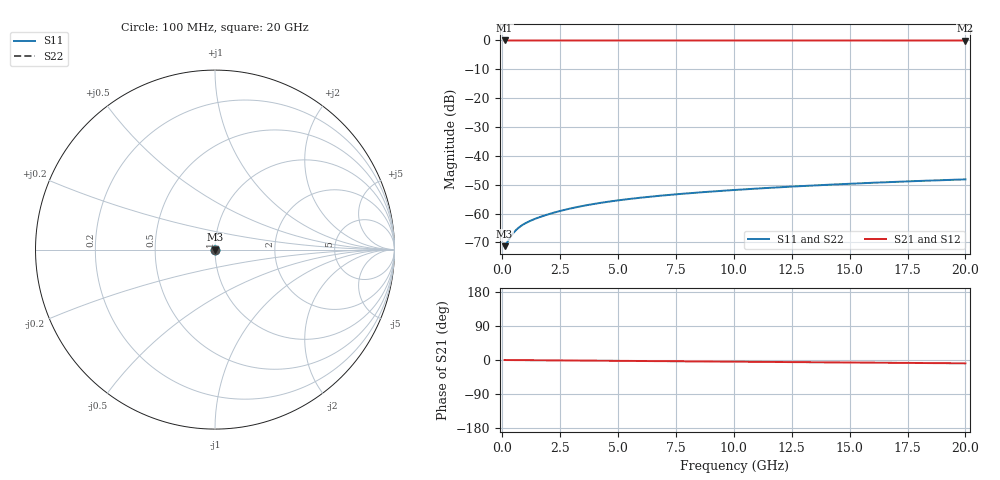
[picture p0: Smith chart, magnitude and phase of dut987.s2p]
! Touchstone file exported from HFSS 2026.1.0
!  File:  C:/ffzhzh/LocalFiles/Ansys_Project_Files/temp_train_TSV_987_1783188102_51560.aedt
!  Generated:  02:03:22 AM Jul  5, 2026
!  Design:  TSV
!  Project:  temp_train_TSV_987_1783188102_51560
! Variables:
!  h_bsmrdl = 2um
!  h_ox = 20um
!  h_rdl = 5um
!  h_sub = 93.37um
!  h_tmrdl = 5um
!  h_tsv = 93.37um
!  h_via = 3um
!  l_bsmrdl = 300um
!  l_sub = 413.92um
!  l_tmrdl = 200um
!  m_sub = 200um
!  pitch = 29.36um
!  r_tsv = 6.96um
!  s_tmrdl = 10um
!  w_bsmrdl = 18um
!  w_sub = 500um
!  w_tmrdl = 12um
!  x_tsv_center1 = 206um
!  x_tsv_center2 = 524um
!  x_tsv_center3 = 736um
!  x_tsv_center4 = 1054um
!  x_tsv_center5 = 1266um
!  x_tsv_center6 = 1584um
# GHz S MA R 50.000000
! Terminal data exported
! Port[1] = TSV1_1_T1
! Port[2] = TSV1_1_T2
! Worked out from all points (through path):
!   200 points, 100 MHz to 20 GHz, reference 50 ohm
!   highest |S21| = 0.00 dB at 100 MHz (marker M1); lowest = 0.0 dB at 20 GHz (marker M2)
!   group delay of S21, straight-line fit = 1.22 ps
!   lowest |S11| = -71.3 dB at 100 MHz (marker M3), VSWR 1.00, Z = 50 + j0.00735 ohm
!   |S11| at or under -10 dB: start of sweep to end of sweep
!   |S22| runs from -71.3 to -48.1 dB; largest |S21 - S12| = 3e-15
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0.1  0.0002723 15.7  0.9997 -0.0  0.9997 -0.0  0.0002723 15.7
! Gamma 0 0 0 0
! Port Impedance 50 0 50 0
0.2  0.0003127 27.2  0.9997 -0.1  0.9997 -0.1  0.0003127 27.2
0.4  0.00042 38.4  0.9997 -0.2  0.9997 -0.2  0.00042 38.4
0.5  0.0004728 40.7  0.9996 -0.2  0.9996 -0.2  0.0004728 40.7
0.6  0.0005217 42.0  0.9996 -0.3  0.9996 -0.3  0.0005216 42.0
0.7  0.0005663 42.9  0.9996 -0.3  0.9996 -0.3  0.0005663 42.9
0.8  0.0006072 43.5  0.9996 -0.4  0.9996 -0.4  0.0006072 43.5
0.9  0.0006449 44.0  0.9995 -0.4  0.9995 -0.4  0.0006449 44.0
1.1  0.0007135 45.0  0.9995 -0.5  0.9995 -0.5  0.0007135 45.0
1.5  0.0008352 46.7  0.9994 -0.7  0.9994 -0.7  0.0008352 46.7
2.1  0.001003 48.8  0.9993 -0.9  0.9993 -0.9  0.001003 48.8
2.8  0.001188 50.3  0.9992 -1.3  0.9992 -1.3  0.001188 50.3
3.5  0.001362 51.1  0.9992 -1.6  0.9992 -1.6  0.001362 51.1
4.2  0.001524 51.5  0.9991 -1.9  0.9991 -1.9  0.001524 51.5
5  0.001694 51.6  0.999 -2.2  0.999 -2.2  0.001694 51.6
5.8  0.001852 51.7  0.9989 -2.6  0.9989 -2.6  0.001852 51.7
6.8  0.002035 51.7  0.9988 -3.0  0.9988 -3.0  0.002035 51.7
8.3  0.002289 51.8  0.9987 -3.7  0.9987 -3.7  0.00229 51.8
10.1  0.002575 51.9  0.9986 -4.5  0.9986 -4.5  0.002575 51.8
13.4  0.003062 51.7  0.9984 -5.9  0.9984 -5.9  0.003063 51.7
16.7  0.003509 51.1  0.9982 -7.4  0.9982 -7.4  0.00351 51.1
20  0.003914 50.2  0.998 -8.8  0.998 -8.8  0.003915 50.2
